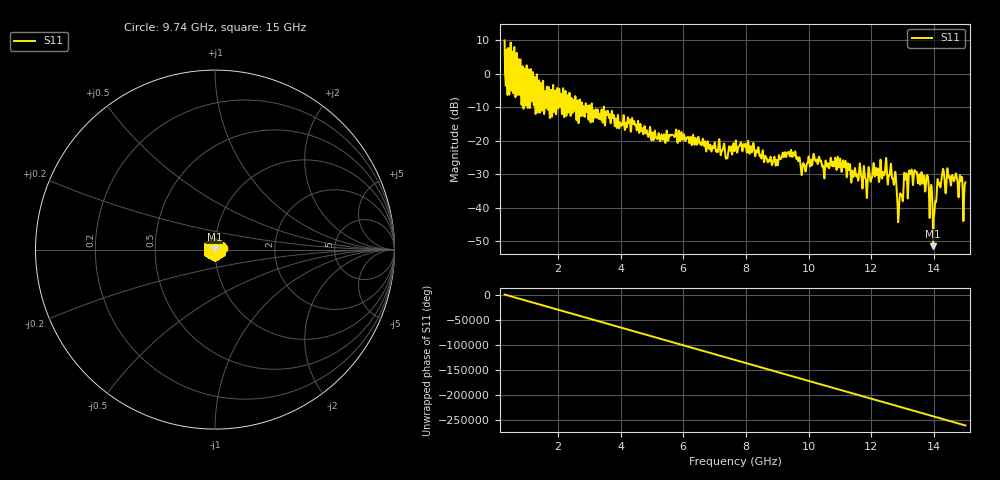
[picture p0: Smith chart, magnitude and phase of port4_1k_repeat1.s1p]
# GHZ S RI R 50.0
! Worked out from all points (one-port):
!   12801 points, 300 MHz to 15 GHz, reference 50 ohm
!   lowest |S11| = -51.4 dB at 13.97 GHz (marker M1), VSWR 1.01, Z = 49.9 + j0.259 ohm
!   |S11| at or under -10 dB: 3.013 GHz to 3.073 GHz (59.22 MHz wide, 1.95 % of centre); 3.089 GHz to 3.462 GHz (372.9 MHz wide, 11.4 % of centre); 3.469 GHz to end of sweep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
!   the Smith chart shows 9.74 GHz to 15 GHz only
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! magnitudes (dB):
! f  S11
! 300 MHz  9.9
! 394.2 MHz  -6.2
! 745.6 MHz  1.6
! 902.9 MHz  -10.4
! 1.193 GHz  -1.1
! 1.353 GHz  -10.3
! 2.138 GHz  -11.7
! 3.975 GHz  -14.8
! 5.812 GHz  -20.5
! 7.388 GHz  -25.0
! 7.65 GHz  -22.2
! 8.888 GHz  -25.4
! 9.488 GHz  -24.3
! 9.829 GHz  -26.6
! 10.2 GHz  -25.7
! 11.32 GHz  -27.4
! 11.8 GHz  -31.0
! 12.1 GHz  -30.3
! 12.62 GHz  -26.8
! 12.89 GHz  -37.9
! 13.16 GHz  -37.2
! 13.75 GHz  -32.0
! 13.97 GHz  -51.4
! 14.02 GHz  -40.1
! 14.11 GHz  -31.9
! 14.27 GHz  -29.1
! 14.65 GHz  -31.7
! 15 GHz  -32.4
